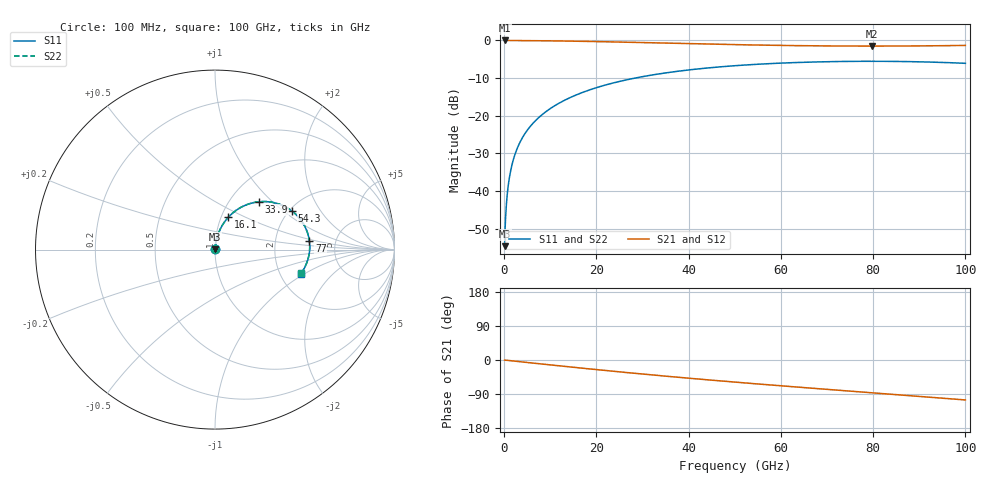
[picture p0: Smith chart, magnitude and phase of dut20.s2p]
! Touchstone file exported from HFSS 2026.1.0
!  File:  C:/ffzhzh/LocalFiles/Ansys_Project_Files/temp_train_RDL_20_1783497825_41296.aedt
!  Generated:  04:04:57 PM Jul  8, 2026
!  Design:  RDL
!  Project:  temp_train_RDL_20_1783497825_41296
! Variables:
!  h_bsmrdl = 2um
!  h_ox = 20um
!  h_rdl = 5um
!  h_sub = 80um
!  h_tmrdl = 4.93um
!  h_tsv = 80um
!  h_via = 3um
!  l_bsmrdl = 300um
!  l_sub = 746.02um
!  l_tmrdl = 346.02um
!  m_sub = 200um
!  pitch = 52.65um
!  r_tsv = 6um
!  s_tmrdl = 10um
!  w_bsmrdl = 18um
!  w_sub = 500um
!  w_tmrdl = 24.56um
!  x_tsv_center1 = 358.3um
!  x_tsv_center2 = 676.3um
!  x_tsv_center3 = 1046.88um
!  x_tsv_center4 = 1364.88um
!  x_tsv_center5 = 1735.46um
!  x_tsv_center6 = 2053.46um
# GHz S MA R 50.000000
! Terminal data exported
! Port[1] = TM_RDL1_1_T1
! Port[2] = TM_RDL1_1_T2
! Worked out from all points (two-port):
!   1000 points, 100 MHz to 100 GHz, reference 50 ohm
!   highest |S21| = -0.01 dB at 100 MHz (marker M1); lowest = -1.5 dB at 79.8 GHz (marker M2)
!   |S21| within 3 dB of the highest: start of sweep to end of sweep
!   lowest |S11| = -54.6 dB at 100 MHz (marker M3), VSWR 1.00, Z = 50.1 + j0.143 ohm
!   |S11| at or under -10 dB: start of sweep to 28.38 GHz
!   |S22| runs from -54.6 to -5.5 dB; largest |S21 - S12| = 1.5e-14
!   S11 on the Smith chart (normalised r, x): 100 MHz: 1.00, +0.00; 16.1 GHz: 1.08, +0.40; 33.9 GHz: 1.36, +0.83; 54.3 GHz: 2.07, +1.15; 77 GHz: 3.17, +0.44; 100 GHz: 2.59, -0.93
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0.1  0.001854 50.2  0.9988 -0.1  0.9988 -0.1  0.001854 50.2
! Gamma 0 0 0 0
! Port Impedance 50 0 50 0
0.8  0.01068 80.9  0.9985 -1.1  0.9985 -1.1  0.01068 80.9
1.1  0.01457 82.4  0.9983 -1.5  0.9983 -1.5  0.01457 82.4
1.4  0.01846 83.0  0.9982 -1.9  0.9982 -1.9  0.01846 83.0
1.9  0.02492 83.3  0.9979 -2.5  0.9979 -2.5  0.02492 83.3
2.4  0.03134 83.1  0.9975 -3.2  0.9975 -3.2  0.03134 83.1
3.8  0.04909 81.9  0.9962 -5.0  0.9962 -5.0  0.04909 82.0
5.8  0.0739 79.8  0.9939 -7.6  0.9939 -7.6  0.0739 79.8
8.5  0.1066 76.7  0.9901 -11.0  0.9901 -11.0  0.1066 76.7
11.9  0.1467 72.7  0.9842 -15.3  0.9842 -15.3  0.1467 72.7
16.1  0.1941 67.7  0.9752 -20.6  0.9752 -20.6  0.1941 67.8
16.8  0.2018 66.9  0.9736 -21.4  0.9736 -21.4  0.2018 66.9
24.2  0.2777 58.2  0.9539 -30.3  0.9539 -30.3  0.2777 58.3
33.4  0.358 47.9  0.9262 -40.9  0.9262 -40.9  0.358 48.0
33.9  0.3619 47.4  0.9247 -41.4  0.9247 -41.4  0.3619 47.5
50.1  0.4619 30.6  0.8789 -58.4  0.8789 -58.4  0.462 30.7
54.3  0.48 26.5  0.8692 -62.6  0.8692 -62.6  0.48 26.7
66.7  0.5161 14.8  0.8485 -74.4  0.8485 -74.4  0.5161 15.0
77  0.5279 5.4  0.8411 -83.9  0.8411 -83.9  0.5279 5.6
79.8  0.5283 2.9  0.8408 -86.5  0.8408 -86.5  0.5283 3.1
83.4  0.5272 -0.4  0.8414 -89.8  0.8414 -89.8  0.5272 -0.2
100  0.4964 -15.8  0.8586 -105.4  0.8586 -105.4  0.4964 -15.5
